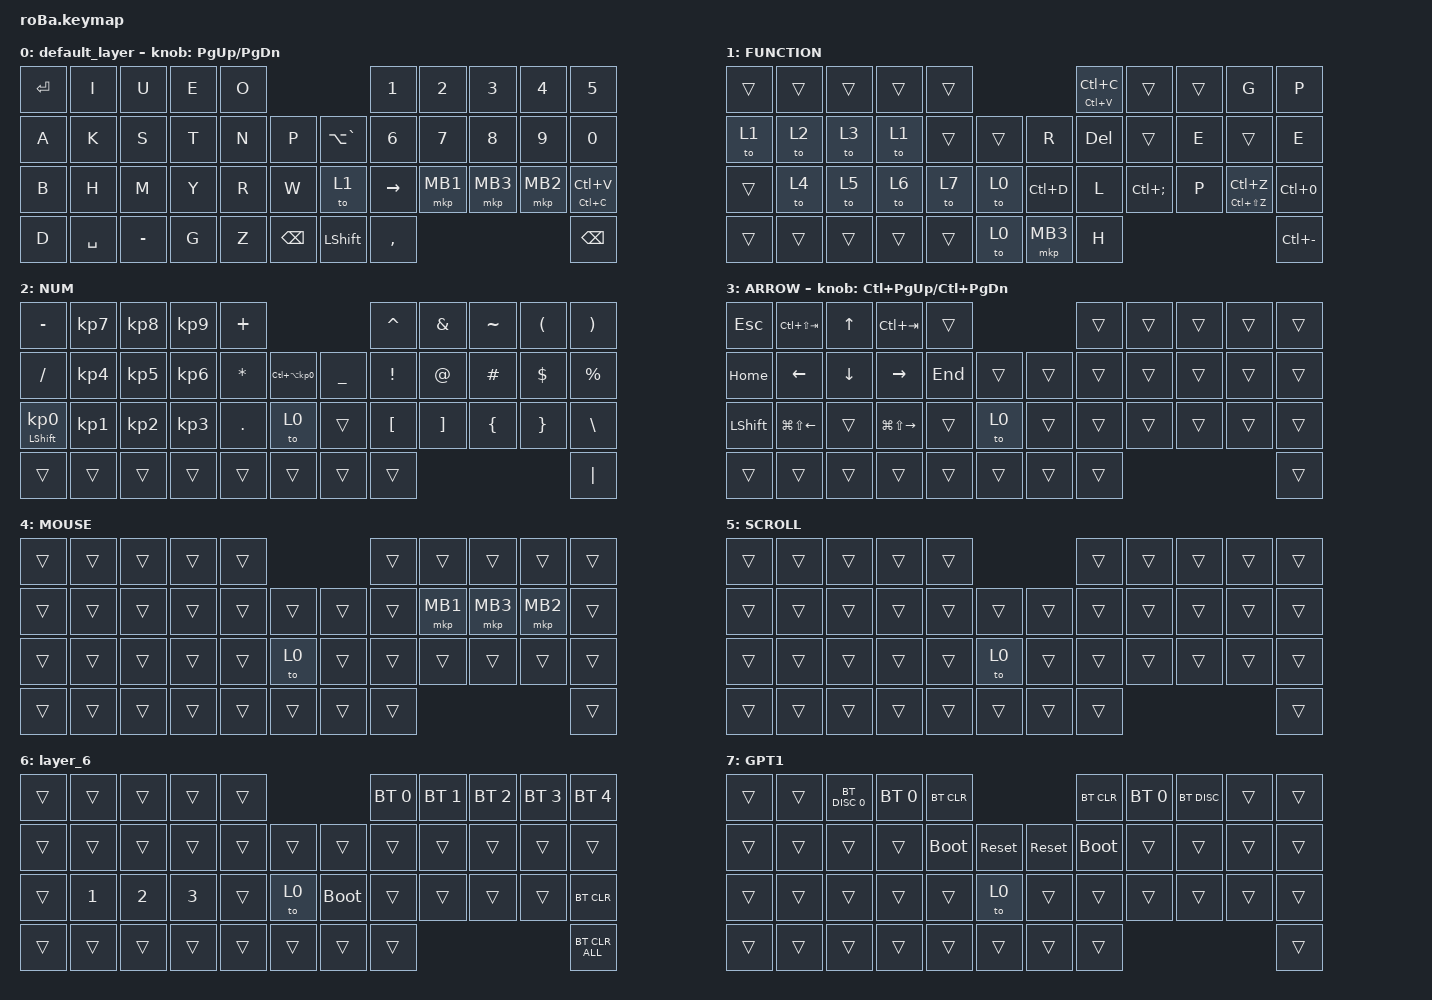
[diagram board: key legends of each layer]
#include <behaviors.dtsi>
#include <dt-bindings/zmk/bt.h>
#include <dt-bindings/zmk/keys.h>
#include <dt-bindings/zmk/pointing.h>

&mt {
    flavor = "balanced";
    quick-tap-ms = <0>;
};

&trackball {
    automouse-layer = <4>;
    scroll-layers = <5>;

    // arrows {
    //     layers = <3>;
    //     bindings =
    //         <&kp RIGHT_ARROW>,
    //         <&kp LEFT_ARROW>,
    //         <&kp UP_ARROW>,
    //         <&kp DOWN_ARROW>;
    //     tick = <10>;
    //     wait-ms = <5>;
    //     tap-ms = <5>;
    // };
};

/ {
    combos {
        compatible = "zmk,combos";

        tab {
            bindings = <&kp TAB>;
            key-positions = <11 12>;
        };

        shift_tab {
            bindings = <&kp LS(TAB)>;
            key-positions = <12 13>;
        };

        muhennkann {
            bindings = <&to_layer_0 INT_MUHENKAN>;
            key-positions = <11 10>;
        };

        double_quotation {
            bindings = <&kp DOUBLE_QUOTES>;
            key-positions = <20 21>;
        };

        eq {
            bindings = <&kp EQUAL>;
            key-positions = <24 25>;
        };
    };

    macros {
        to_layer_0: to_layer_0 {
            compatible = "zmk,behavior-macro-one-param";
            #binding-cells = <1>;
            bindings = <&to 0 &macro_param_1to1 &kp MACRO_PLACEHOLDER>;
            label = "TO_LAYER_0";
        };
    };

    behaviors {
        lt_to_layer_0: lt_to_layer_0 {
            compatible = "zmk,behavior-hold-tap";
            label = "LAYER_TAP_TO_0";
            bindings = <&mo>, <&to_layer_0>;

            #binding-cells = <2>;
            tapping-term-ms = <200>;
        };
    };

    keymap {
        compatible = "zmk,keymap";

        default_layer {
            bindings = <
&kp ENTER  &kp I      &kp U      &kp E  &kp O                                    &kp NUMBER_1     &kp NUMBER_2  &kp NUMBER_3  &kp NUMBER_4  &kp NUMBER_5
&kp A      &kp K      &kp S      &kp T  &kp N  &kp P              &kp LA(GRAVE)  &kp NUMBER_6     &kp NUMBER_7  &kp NUMBER_8  &kp NUMBER_9  &kp NUMBER_0
&kp B      &kp H      &kp M      &kp Y  &kp R  &kp W              &to 1          &kp RIGHT_ARROW  &mkp MB1      &mkp MB3      &mkp MB2      &mt LC(C) LC(V)
&kp D      &kp SPACE  &kp MINUS  &kp G  &kp Z  &kp BACKSPACE      &kp LSHIFT     &kp COMMA                                                  &kp BACKSPACE
            >;

            sensor-bindings = <&inc_dec_kp PG_UP PAGE_DOWN>;
        };

        FUNCTION {
            bindings = <
&trans  &trans  &trans  &trans  &trans                         &mt LC(V) LC(C)  &trans             &trans  &kp G                &kp P
&to 1   &to 2   &to 3   &to 1   &trans  &trans      &kp R      &kp DELETE       &trans             &kp E   &trans               &kp E
&trans  &to 4   &to 5   &to 6   &to 7   &to 0       &kp LC(D)  &kp L            &kp LC(SEMICOLON)  &kp P   &mt LC(LS(Z)) LC(Z)  &kp LC(NUMBER_0)
&trans  &trans  &trans  &trans  &trans  &to 0       &mkp MB3   &kp H                                                            &kp LC(MINUS)
            >;
        };

        NUM {
            bindings = <
&kp MINUS                   &kp KP_NUMBER_7  &kp KP_NUMBER_8  &kp KP_NUMBER_9  &kp PLUS                                                   &kp CARET         &kp AMPERSAND      &kp TILDE       &kp LEFT_PARENTHESIS  &kp RIGHT_PARENTHESIS
&kp SLASH                   &kp KP_NUMBER_4  &kp KP_NUMBER_5  &kp KP_NUMBER_6  &kp ASTERISK  &kp LC(LA(KP_NUMBER_0))      &kp UNDERSCORE  &kp EXCLAMATION   &kp AT_SIGN        &kp HASH        &kp DOLLAR            &kp PERCENT
&mt LEFT_SHIFT KP_NUMBER_0  &kp KP_NUMBER_1  &kp KP_NUMBER_2  &kp KP_NUMBER_3  &kp PERIOD    &to 0                        &trans          &kp LEFT_BRACKET  &kp RIGHT_BRACKET  &kp LEFT_BRACE  &kp RIGHT_BRACE       &kp BACKSLASH
&trans                      &trans           &trans           &trans           &trans        &trans                       &trans          &trans                                                                     &kp PIPE
            >;
        };

        ARROW {
            bindings = <
&kp ESCAPE      &kp LC(LS(TAB))         &kp UP_ARROW    &kp LC(TAB)              &trans                       &trans  &trans  &trans  &trans  &trans
&kp HOME        &kp LEFT_ARROW          &kp DOWN_ARROW  &kp RIGHT_ARROW          &kp END  &trans      &trans  &trans  &trans  &trans  &trans  &trans
&kp LEFT_SHIFT  &kp LG(LS(LEFT_ARROW))  &trans          &kp LG(LS(RIGHT_ARROW))  &trans   &to 0       &trans  &trans  &trans  &trans  &trans  &trans
&trans          &trans                  &trans          &trans                   &trans   &trans      &trans  &trans                          &trans
            >;

            sensor-bindings = <&inc_dec_kp LC(PAGE_UP) LC(PAGE_DOWN)>;
        };

        MOUSE {
            bindings = <
&trans  &trans  &trans  &trans  &trans                      &trans  &trans    &trans    &trans    &trans
&trans  &trans  &trans  &trans  &trans  &trans      &trans  &trans  &mkp MB1  &mkp MB3  &mkp MB2  &trans
&trans  &trans  &trans  &trans  &trans  &to 0       &trans  &trans  &trans    &trans    &trans    &trans
&trans  &trans  &trans  &trans  &trans  &trans      &trans  &trans                                &trans
            >;
        };

        SCROLL {
            bindings = <
&trans  &trans  &trans  &trans  &trans                      &trans  &trans  &trans  &trans  &trans
&trans  &trans  &trans  &trans  &trans  &trans      &trans  &trans  &trans  &trans  &trans  &trans
&trans  &trans  &trans  &trans  &trans  &to 0       &trans  &trans  &trans  &trans  &trans  &trans
&trans  &trans  &trans  &trans  &trans  &trans      &trans  &trans                          &trans
            >;
        };

        layer_6 {
            bindings = <
&trans  &trans        &trans        &trans        &trans                           &bt BT_SEL 0  &bt BT_SEL 1  &bt BT_SEL 2  &bt BT_SEL 3  &bt BT_SEL 4
&trans  &trans        &trans        &trans        &trans  &trans      &trans       &trans        &trans        &trans        &trans        &trans
&trans  &kp NUMBER_1  &kp NUMBER_2  &kp NUMBER_3  &trans  &to 0       &bootloader  &trans        &trans        &trans        &trans        &bt BT_CLR
&trans  &trans        &trans        &trans        &trans  &trans      &trans       &trans                                                  &bt BT_CLR_ALL
            >;
        };

        GPT1 {
            bindings = <
&trans  &trans  &bt BT_DISC 0  &bt BT_SEL 0  &bt BT_CLR                               &bt BT_CLR   &bt BT_SEL 0  &bt BT_DISC  &trans  &trans
&trans  &trans  &trans         &trans        &bootloader  &sys_reset      &sys_reset  &bootloader  &trans        &trans       &trans  &trans
&trans  &trans  &trans         &trans        &trans       &to 0           &trans      &trans       &trans        &trans       &trans  &trans
&trans  &trans  &trans         &trans        &trans       &trans          &trans      &trans                                          &trans
            >;
        };
    };
};
